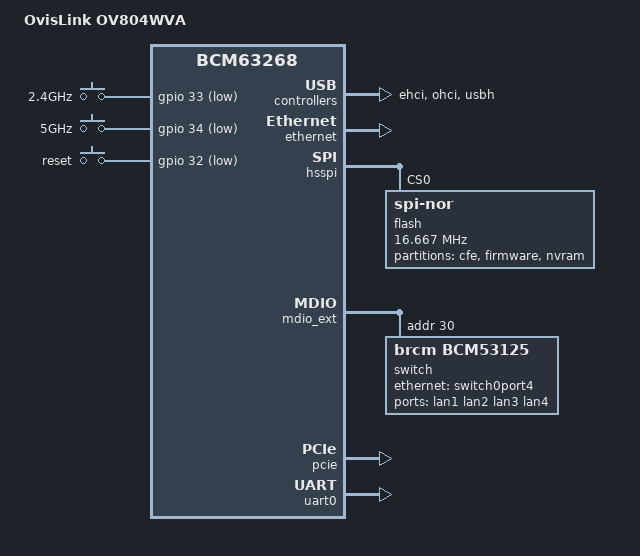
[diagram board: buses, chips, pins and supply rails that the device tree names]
// SPDX-License-Identifier: GPL-2.0-or-later

#include "bcm63268.dtsi"

/ {
	model = "OvisLink OV804WVA";
	compatible = "ovislink,ov804wva", "brcm,bcm63168", "brcm,bcm63268";

	aliases {
		led-boot = &led_power_green;
		led-failsafe = &led_power_red;
		led-running = &led_power_green;
		led-upgrade = &led_power_green;
	};

	keys {
		compatible = "gpio-keys-polled";
		poll-interval = <100>;

		24ghz {
			label = "2.4GHz";
			gpios = <&gpio 33 GPIO_ACTIVE_LOW>;
			linux,code = <KEY_WLAN>;
			debounce-interval = <60>;
		};

		5ghz {
			label = "5GHz";
			gpios = <&gpio 34 GPIO_ACTIVE_LOW>;
			linux,code = <KEY_RFKILL>;
			debounce-interval = <60>;
		};

		reset {
			label = "reset";
			gpios = <&gpio 32 GPIO_ACTIVE_LOW>;
			linux,code = <KEY_RESTART>;
			debounce-interval = <60>;
		};
	};
};

&ehci {
	status = "okay";
};

&ethernet {
	status = "okay";

	nvmem-cells = <&macaddr_cfe_6a0>;
	nvmem-cell-names = "mac-address";
};

&hsspi {
	status = "okay";

	flash@0 {
		compatible = "jedec,spi-nor";
		spi-max-frequency = <16666667>;
		spi-tx-bus-width = <2>;
		spi-rx-bus-width = <2>;
		reg = <0>;

		#address-cells = <1>;
		#size-cells = <1>;

		partitions {
			compatible = "fixed-partitions";
			#address-cells = <1>;
			#size-cells = <1>;

			partition@0 {
				label = "cfe";
				reg = <0x000000 0x010000>;
				read-only;

				nvmem-layout {
					compatible = "fixed-layout";
					#address-cells = <1>;
					#size-cells = <1>;

					macaddr_cfe_6a0: macaddr@6a0 {
						reg = <0x6a0 0x6>;
					};
				};
			};

			partition@0x010000 {
				compatible = "brcm,bcm963xx-imagetag";
				label = "firmware";
				reg = <0x010000 0xfd0000>;
			};

			partition@fe0000 {
				label = "nvram";
				reg = <0xfd0000 0x030000>;
			};
		};
	};
};

&leds {
	status = "okay";

	pinctrl-names = "default";
	pinctrl-0 = <&pinctrl_leds>;

	usb1_green@8 {
		reg = <8>;
		active-low;
		label = "green:usb1";
		function = LED_FUNCTION_USB;
		color = <LED_COLOR_ID_GREEN>;
	};

	internet_green@9 {
		reg = <9>;
		active-low;
		label = "green:internet";
	};

	usb2_green@14 {
		reg = <14>;
		active-low;
		label = "green:usb2";
	};

	inet_red@18 {
		reg = <18>;
		active-low;
		label = "red:inet";
	};

	dsl_green@19 {
		reg = <19>;
		active-low;
		label = "green:dsl";
	};

	led_power_green: power_green@20 {
		reg = <20>;
		active-low;
		label = "green:power";
		function = LED_FUNCTION_POWER;
		color = <LED_COLOR_ID_GREEN>;
	};

	led_power_red: power_red@21 {
		reg = <21>;
		active-low;
		label = "red:power";
		function = LED_FUNCTION_POWER;
		color = <LED_COLOR_ID_RED>;
		panic-indicator;
	};

	wps_green@22 {
		reg = <22>;
		active-low;
		label = "green:wps";
	};

	wan_green@23 {
		reg = <23>;
		active-low;
		label = "green:wan";
	};
};

&mdio_ext {
	switch@1e {
		compatible = "brcm,bcm53125";
		reg = <30>;

		dsa,member = <1 0>;

		ports {
			#address-cells = <1>;
			#size-cells = <0>;

			port@1 {
				reg = <1>;
				label = "lan1";
			};

			port@2 {
				reg = <2>;
				label = "lan2";
			};

			port@3 {
				reg = <3>;
				label = "lan3";
			};

			port@4 {
				reg = <4>;
				label = "lan4";
			};

			port@8 {
				reg = <8>;

				phy-mode = "rgmii";
				ethernet = <&switch0port4>;

				fixed-link {
					speed = <1000>;
					full-duplex;
				};
			};
		};
	};
};

&ohci {
	status = "okay";
};

&pcie {
	status = "okay";
};

&pinctrl {
	pinctrl_leds: leds {
		function = "led";
		pins = "gpio8", "gpio9", 
			"gpio14", "gpio18",
			"gpio19", "gpio20",
			"gpio21", "gpio22",
			"gpio23";
			
	};
};

&switch0 {
	dsa,member = <0 0>;

	ports {
		port@3 {
			reg = <3>;
			label = "wan";

			phy-handle = <&phy4>;
			phy-mode = "gmii";
		};

		switch0port4: port@4 {
			reg = <4>;
			label = "extsw";

			phy-mode = "rgmii";

			fixed-link {
				speed = <1000>;
				full-duplex;
			};
		};
	};
};

&uart0 {
	status = "okay";
};

&usbh {
	status = "okay";
};
